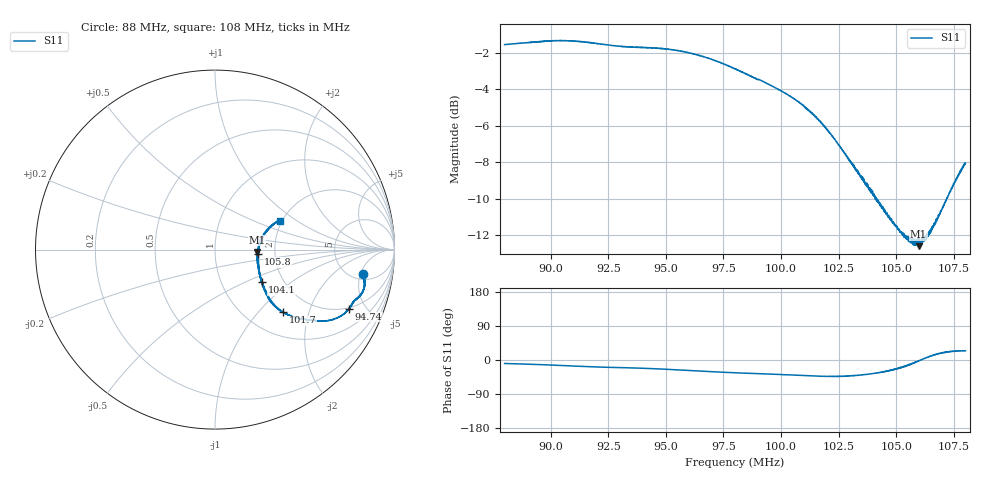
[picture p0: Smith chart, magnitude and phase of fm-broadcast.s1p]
! Calibrated averaged scanner-service zoom
# Hz S RI R 50
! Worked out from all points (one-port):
!   2001 points, 88 MHz to 108 MHz, reference 50 ohm
!   lowest |S11| = -12.6 dB at 106 MHz (marker M1), VSWR 1.61, Z = 80.5 - j2.21 ohm
!   |S11| at or under -10 dB: 104.0883 MHz to 104.0923 MHz (4.034 kHz wide, 0.00388 % of centre); 104.1 MHz to 107.2 MHz (3.052 MHz wide, 2.89 % of centre)
!   S11 on the Smith chart (normalised r, x): 88 MHz: 6.20, -5.55; 94.74 MHz: 1.95, -3.83; 101.7 MHz: 1.45, -1.38; 104.1 MHz: 1.55, -0.62; 105.8 MHz: 1.63, -0.08; 108 MHz: 1.94, +0.74
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8.8e7  0.8256 -0.1344
8.934e7  0.8336 -0.1728
9.05e7  0.8298 -0.2163
9.173e7  0.807 -0.2591
9.3e7  0.7779 -0.2835
9.381e7  0.7655 -0.2998
9.474e7  0.7472 -0.3282
9.55e7  0.7239 -0.3534
9.689e7  0.6603 -0.3884
9.8e7  0.597 -0.3977
9.945e7  0.5203 -0.3924
1.005e8  0.4613 -0.3811
1.0094e8  0.4322 -0.3725
1.0167e8  0.3796 -0.3488
1.0231e8  0.3345 -0.3181
1.03e8  0.2999 -0.2678
1.0362e8  0.2727 -0.2196
1.0411e8  0.2606 -0.1808
1.0491e8  0.2434 -0.1154
1.055e8  0.237 -0.0602
1.0584e8  0.2404 -0.0244
1.0597e8  0.2339 -0.0129
1.0623e8  0.2435 0.0182
1.0656e8  0.2544 0.0546
1.0694e8  0.2756 0.0938
1.073e8  0.303 0.1254
1.0777e8  0.3438 0.1545
1.08e8  0.3609 0.1618
